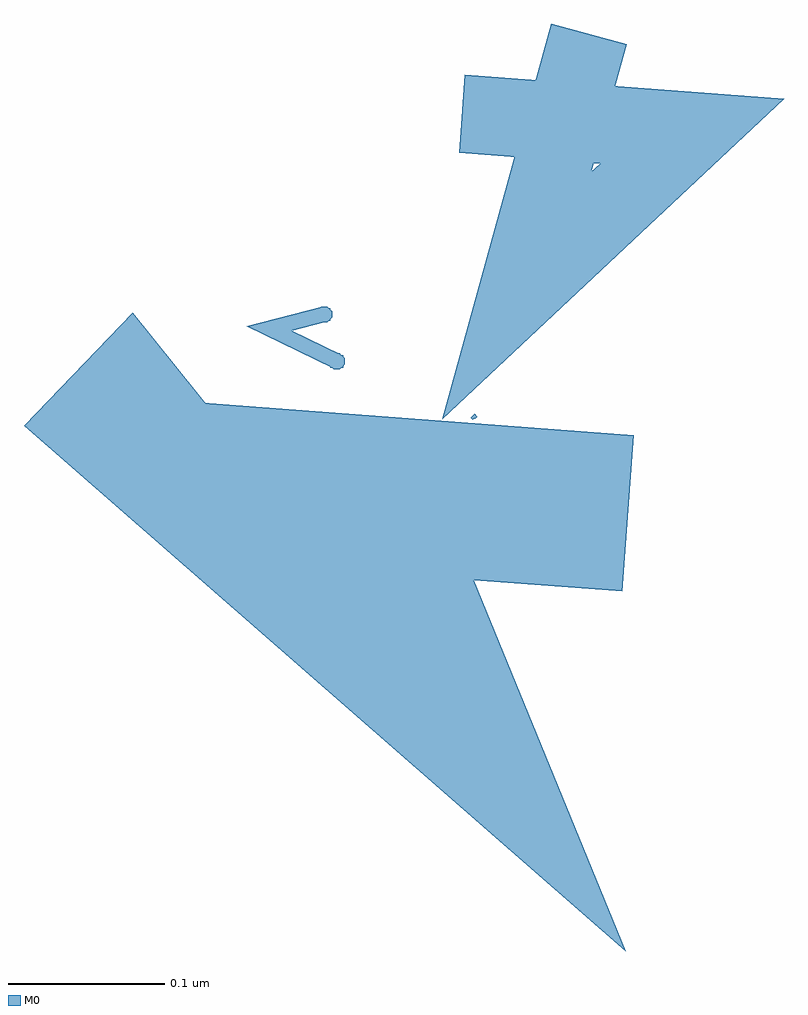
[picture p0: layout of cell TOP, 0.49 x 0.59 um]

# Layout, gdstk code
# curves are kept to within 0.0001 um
import gdstk
lib = gdstk.Library(unit=1e-6, precision=1e-09)
def P(c, l, *ps):  # polygons
    for p in ps: c.add(gdstk.Polygon(p, *l))
M0 = (1, 0)

top = lib.new_cell('TOP')
P(top, M0, [(-0.338,0.273),(-0.338,0.275),(-0.339,0.276),(-0.339,0.277),(-0.34,0.277),(-0.341,0.278),(-0.345,0.278),(-0.346,0.277),(-0.347,0.277),(-0.347,0.276),(-0.348,0.275),(-0.348,0.271),(-0.347,0.27),(-0.347,0.269),(-0.346,0.269),(-0.345,0.268),(-0.341,0.268),(-0.34,0.269),(-0.339,0.269),(-0.339,0.27),(-0.338,0.271)],
  [(-0.346,0.303),(-0.346,0.305),(-0.347,0.306),(-0.347,0.307),(-0.348,0.307),(-0.349,0.308),(-0.353,0.308),(-0.354,0.307),(-0.355,0.307),(-0.355,0.306),(-0.356,0.305),(-0.356,0.301),(-0.355,0.3),(-0.355,0.299),(-0.354,0.299),(-0.353,0.298),(-0.349,0.298),(-0.348,0.299),(-0.347,0.299),(-0.347,0.3),(-0.346,0.301)])
top.add(gdstk.FlexPath([(-0.508,0.268),(-0.253,0.022),(-0.342,0.19),(-0.157,0.176)], 0.1, ends="flush", simple_path=True, layer=1, datatype=0))  # M0
top.add(gdstk.FlexPath([(-0.263,0.431),(-0.116,0.42),(-0.228,0.315),(-0.182,0.482)], 0.05, ends="flush", simple_path=True, layer=1, datatype=0))  # M0
top.add(gdstk.FlexPath([(-0.343,0.273),(-0.386,0.294),(-0.351,0.303)], 0.01, ends="flush", simple_path=True, layer=1, datatype=0))  # M0
top.add(gdstk.FlexPath([(-0.256,0.237),(-0.255,0.238),(-0.254,0.237)], 0.002, ends=(0.001, 0), simple_path=True, layer=1, datatype=0))  # M0

lib.write_gds('TOP.gds')
